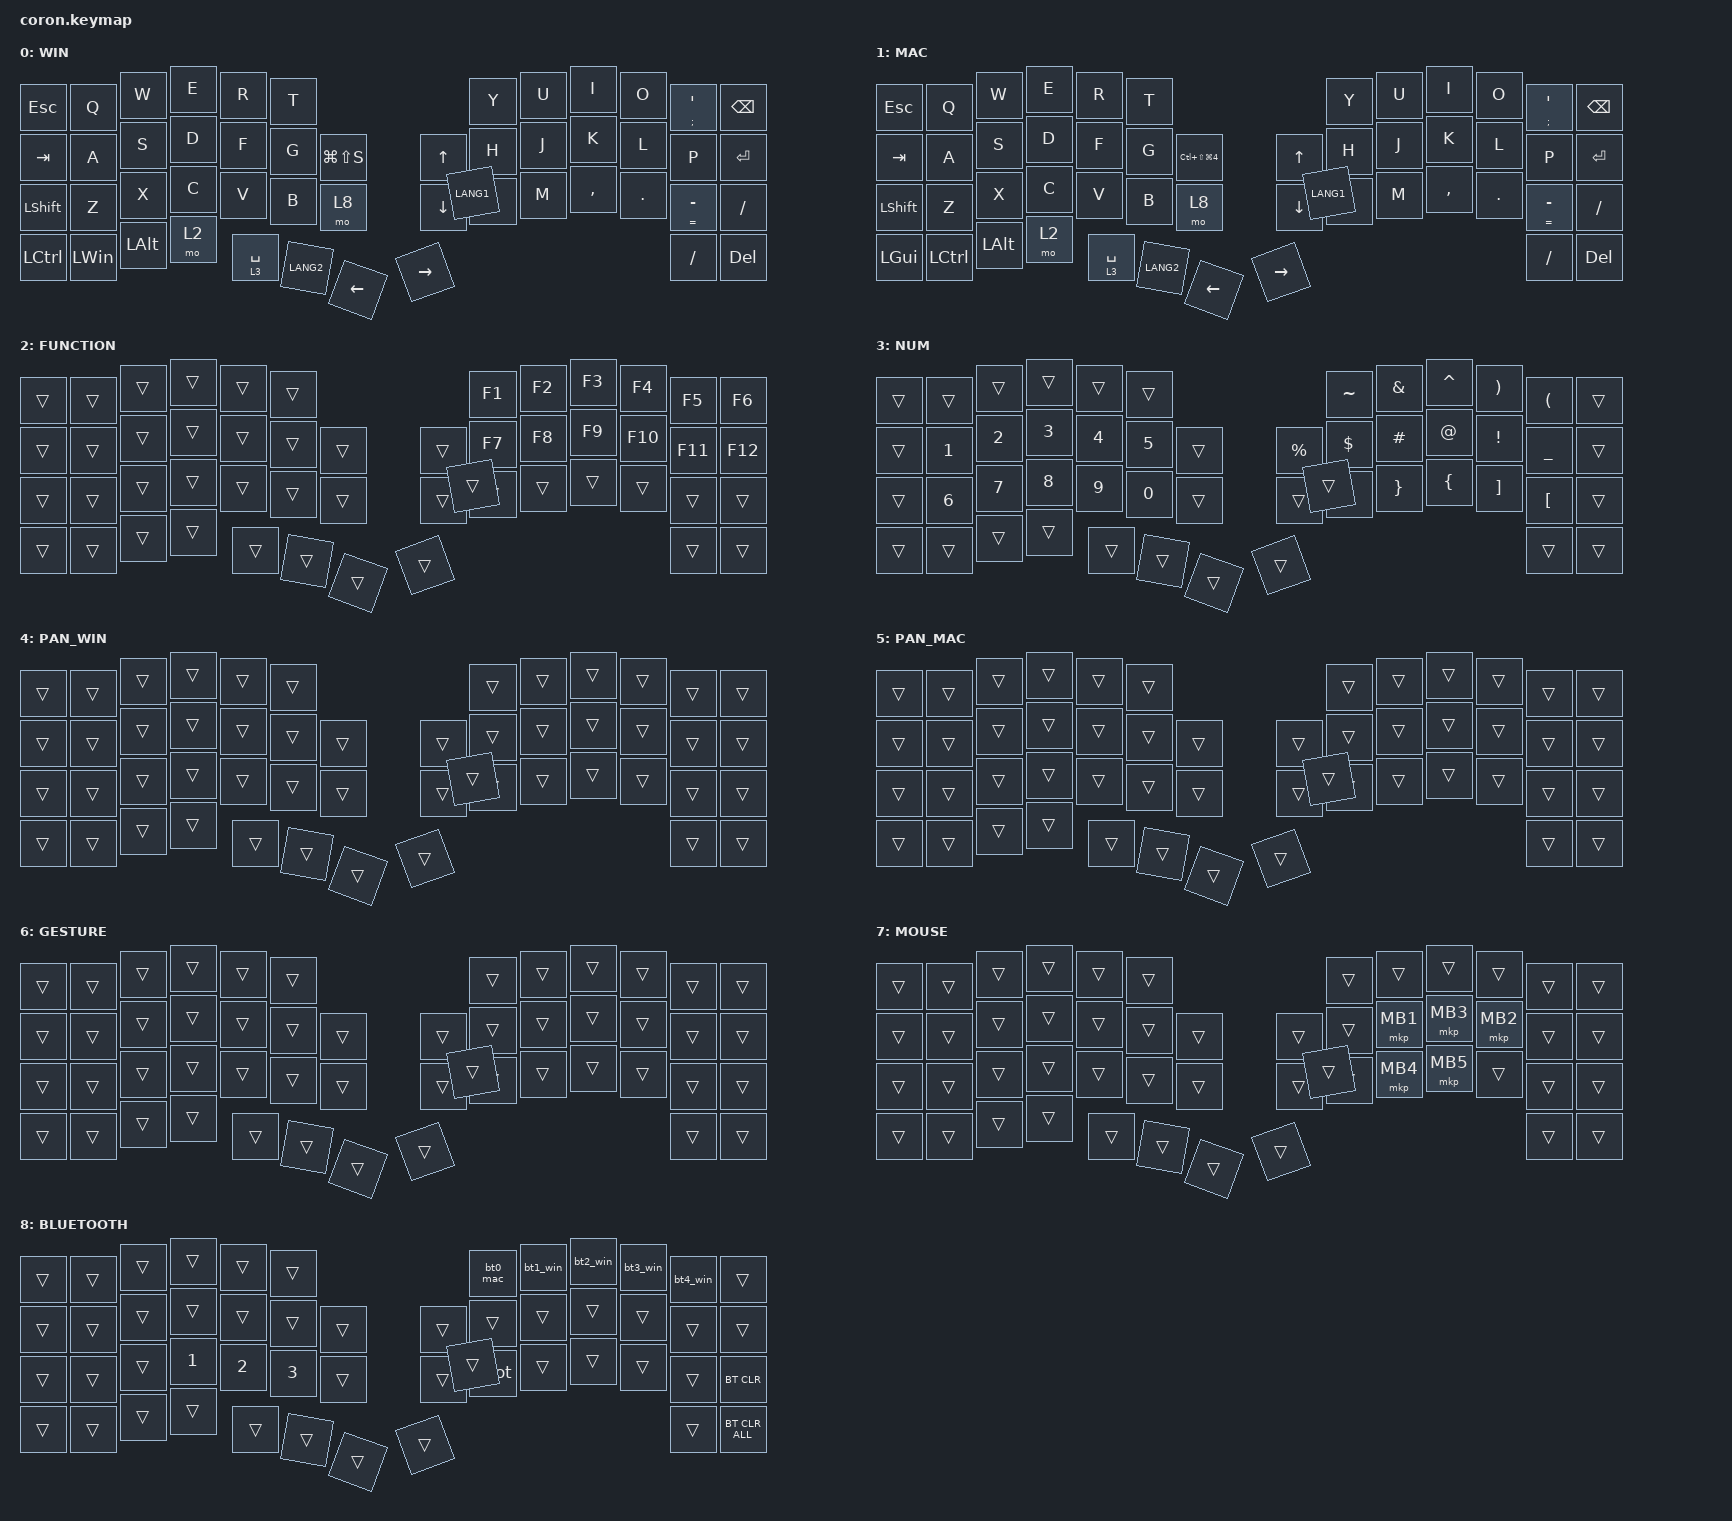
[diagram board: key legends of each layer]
/* coron.keymap */

#include <dt-bindings/zmk/input_transform.h>
#include <input/processors.dtsi>
#include <mouse-gesture.dtsi>
#include <dt-bindings/zmk_behavior_default_layer/default_layer.h>
#include <behaviors.dtsi>
#include <dt-bindings/zmk/bt.h>
#include <dt-bindings/zmk/keys.h>
#include <dt-bindings/zmk/pointing.h>

&mt {
    flavor = "balanced";
    quick-tap-ms = <0>;
};

&zip_mouse_gesture {
    mac-layer = <1>;
    stroke-size = <100>;
    movement-threshold = <6>;
    gesture-cooldown-ms = <250>;
    enable-eager-mode;

    desktop_left {
        pattern = <GESTURE_LEFT>;
        win-bindings = <&kp LC(LG(LEFT_ARROW))>;
        mac-bindings = <&kp LC(LEFT_ARROW)>;
    };

    desktop_right {
        pattern = <GESTURE_RIGHT>;
        win-bindings = <&kp LC(LG(RIGHT_ARROW))>;
        mac-bindings = <&kp LC(RIGHT_ARROW)>;
    };

    desktop_overview_up {
        pattern = <GESTURE_UP>;
        win-bindings = <&kp LG(TAB)>;
        mac-bindings = <&kp LC(UP_ARROW)>;
    };

    desktop_overview_down {
        pattern = <GESTURE_DOWN>;
        win-bindings = <&kp LG(TAB)>;
        mac-bindings = <&kp LC(DOWN_ARROW)>;
    };
};

&trackball_listener {
    status = "okay";
    input-processors = <&zip_temp_layer 7 300>;

    pan_win_scroll {
        layers = <4>;
        input-processors = <
            &zip_xy_transform INPUT_TRANSFORM_Y_INVERT
            &zip_axis_lock
            &zip_xy_to_scroll_mapper
#if defined(CORON_SCROLL_INERTIA)
            &scroll_inertia_win
#endif
            &zip_scroll_scaler 1 12
        >;
    };

    pan_mac_scroll {
        layers = <5>;
        input-processors = <
            &zip_xy_transform INPUT_TRANSFORM_Y_INVERT
            &zip_axis_lock
            &zip_xy_to_scroll_mapper
            &zip_scroll_transform INPUT_TRANSFORM_X_INVERT
#if defined(CORON_SCROLL_INERTIA)
            &scroll_inertia_mac
#endif
            &zip_scroll_scaler 1 12
        >;
    };

    desktop_layer_gesture {
        layers = <6>;
        input-processors = <
            &zip_mouse_gesture
            &zip_xy_scaler 0 1
        >;
    };

};

/ {
#if defined(CORON_SCROLL_INERTIA)
    /* Inertia emits directly to HID: apply direction transforms before it,
     * and keep scale/scale-div equal to the downstream scroll scaler.
     * Only the right (central) half can emit mouse HID reports.
     */
    scroll_inertia_win: scroll_inertia_win {
        compatible = "zmk,input-processor-scroll-inertia";
        #input-processor-cells = <0>;
        axis = <0>;
        layer = <4>;
        scale = <1>;
        scale-div = <12>;
        /* Initial thresholds for the 400 CPI, 125 Hz sensor. */
        start = <16>;
        move = <32>;
        stop = <1>;
        tick = <8>;
        release = <24>;
        span = <2000>;
    };

    scroll_inertia_mac: scroll_inertia_mac {
        compatible = "zmk,input-processor-scroll-inertia";
        #input-processor-cells = <0>;
        axis = <0>;
        layer = <5>;
        scale = <1>;
        scale-div = <12>;
        start = <16>;
        move = <32>;
        stop = <1>;
        tick = <8>;
        release = <24>;
        span = <2000>;
    };
#endif

    layer_listeners {
        compatible = "zmk,layer-listeners";

        desktop_gesture_auto_toggle {
            layers = <6>;
            bindings = <&mouse_gesture_on &mouse_gesture_off>;
        };
    };

    combos {
        compatible = "zmk,combos";

        tab {
            bindings = <&kp TAB>;
            key-positions = <11 12>;
        };

        shift_tab {
            bindings = <&kp LS(TAB)>;
            key-positions = <12 13>;
        };

        muhennkann {
            bindings = <&to_layer_0 INT_MUHENKAN>;
            key-positions = <11 10>;
        };

        double_quotation {
            bindings = <&kp DOUBLE_QUOTES>;
            key-positions = <20 21>;
        };

        eq {
            bindings = <&kp EQUAL>;
            key-positions = <24 25>;
        };

        jk_scroll_win {
            bindings = <&mo 4>;
            key-positions = <21 22>;
            layers = <0>;
            slow-release;
        };

        jk_scroll_mac {
            bindings = <&mo 5>;
            key-positions = <21 22>;
            layers = <1>;
            slow-release;
        };

        kl_mission_control {
            bindings = <&mo 6>;
            key-positions = <22 23>;
            layers = <0 1>;
            slow-release;
        };
    };

    macros {
        to_layer_0: to_layer_0 {
            compatible = "zmk,behavior-macro-one-param";
            #binding-cells = <1>;
            bindings = <&to 0 &macro_param_1to1 &kp MACRO_PLACEHOLDER>;
            label = "TO_LAYER_0";
        };

        bt0_mac: bt0_mac {
            compatible = "zmk,behavior-macro";
            #binding-cells = <0>;
            bindings = <&bt BT_SEL 0 &df DF_BLE_SEL 1>;
            label = "BT0_MAC";
        };

        bt1_win: bt1_win {
            compatible = "zmk,behavior-macro";
            #binding-cells = <0>;
            bindings = <&bt BT_SEL 1 &df DF_BLE_SEL 0>;
            label = "BT1_WIN";
        };

        bt2_win: bt2_win {
            compatible = "zmk,behavior-macro";
            #binding-cells = <0>;
            bindings = <&bt BT_SEL 2 &df DF_BLE_SEL 0>;
            label = "BT2_WIN";
        };

        bt3_win: bt3_win {
            compatible = "zmk,behavior-macro";
            #binding-cells = <0>;
            bindings = <&bt BT_SEL 3 &df DF_BLE_SEL 0>;
            label = "BT3_WIN";
        };

        bt4_win: bt4_win {
            compatible = "zmk,behavior-macro";
            #binding-cells = <0>;
            bindings = <&bt BT_SEL 4 &df DF_BLE_SEL 0>;
            label = "BT4_WIN";
        };
    };

    behaviors {
        lt_to_layer_0: lt_to_layer_0 {
            compatible = "zmk,behavior-hold-tap";
            label = "LAYER_TAP_TO_0";
            bindings = <&mo>, <&to_layer_0>;

            #binding-cells = <2>;
            tapping-term-ms = <200>;
        };
    };

    keymap {
        compatible = "zmk,keymap";

        WIN {
            bindings = <
&kp ESC         &kp Q         &kp W         &kp E  &kp R        &kp T      &kp Y           &kp U            &kp I      &kp O      &mt SEMICOLON SQT  &kp BACKSPACE
&kp TAB         &kp A         &kp S         &kp D  &kp F        &kp G      &kp LG(LS(S))   &kp UP_ARROW     &kp H      &kp J      &kp K              &kp L          &kp P            &kp ENTER
&kp LEFT_SHIFT  &kp Z         &kp X         &kp C  &kp V        &kp B      &mo 8           &kp DOWN_ARROW   &kp N      &kp M      &kp COMMA          &kp DOT        &mt EQUAL MINUS  &kp SLASH
&kp LCTRL       &kp LEFT_WIN  &kp LEFT_ALT  &mo 2  &lt 3 SPACE  &kp LANG2  &kp LEFT_ARROW  &kp RIGHT_ARROW  &kp LANG1  &kp SLASH  &kp DEL
            >;
        };

        MAC {
            bindings = <
&kp ESC         &kp Q      &kp W         &kp E  &kp R        &kp T      &kp Y                     &kp U            &kp I      &kp O      &mt SEMICOLON SQT  &kp BACKSPACE
&kp TAB         &kp A      &kp S         &kp D  &kp F        &kp G      &kp LC(LS(LG(NUMBER_4)))  &kp UP_ARROW     &kp H      &kp J      &kp K              &kp L          &kp P            &kp ENTER
&kp LEFT_SHIFT  &kp Z      &kp X         &kp C  &kp V        &kp B      &mo 8                     &kp DOWN_ARROW   &kp N      &kp M      &kp COMMA          &kp DOT        &mt EQUAL MINUS  &kp SLASH
&kp LEFT_GUI    &kp LCTRL  &kp LEFT_ALT  &mo 2  &lt 3 SPACE  &kp LANG2  &kp LEFT_ARROW            &kp RIGHT_ARROW  &kp LANG1  &kp SLASH  &kp DEL
            >;
        };

        FUNCTION {
            bindings = <
&trans  &trans  &trans  &trans  &trans  &trans  &kp F1  &kp F2  &kp F3  &kp F4  &kp F5  &kp F6
&trans  &trans  &trans  &trans  &trans  &trans  &trans  &trans  &kp F7  &kp F8  &kp F9  &kp F10  &kp F11  &kp F12
&trans  &trans  &trans  &trans  &trans  &trans  &trans  &trans  &trans  &trans  &trans  &trans   &trans   &trans
&trans  &trans  &trans  &trans  &trans  &trans  &trans  &trans  &trans  &trans  &trans
            >;
        };

        NUM {
            bindings = <
&trans  &trans        &trans  &trans  &trans  &trans  &kp TILDE  &kp AMPERSAND  &kp CARET      &kp RIGHT_PARENTHESIS  &kp LEFT_PARENTHESIS  &trans
&trans  &kp N1        &kp N2  &kp N3  &kp N4  &kp N5  &trans     &kp PERCENT    &kp DOLLAR     &kp HASH               &kp AT_SIGN           &kp EXCLAMATION    &kp UNDERSCORE    &trans
&trans  &kp NUMBER_6  &kp N7  &kp N8  &kp N9  &kp N0  &trans     &trans         &kp BACKSLASH  &kp RIGHT_BRACE        &kp LEFT_BRACE        &kp RIGHT_BRACKET  &kp LEFT_BRACKET  &trans
&trans  &trans        &trans  &trans  &trans  &trans  &trans     &trans         &trans         &trans                 &trans
            >;
        };

        PAN_WIN {
            bindings = <
&trans  &trans  &trans  &trans  &trans  &trans  &trans  &trans  &trans  &trans  &trans  &trans
&trans  &trans  &trans  &trans  &trans  &trans  &trans  &trans  &trans  &trans  &trans  &trans  &trans  &trans
&trans  &trans  &trans  &trans  &trans  &trans  &trans  &trans  &trans  &trans  &trans  &trans  &trans  &trans
&trans  &trans  &trans  &trans  &trans  &trans  &trans  &trans  &trans  &trans  &trans
            >;
        };

        PAN_MAC {
            bindings = <
&trans  &trans  &trans  &trans  &trans  &trans  &trans  &trans  &trans  &trans  &trans  &trans
&trans  &trans  &trans  &trans  &trans  &trans  &trans  &trans  &trans  &trans  &trans  &trans  &trans  &trans
&trans  &trans  &trans  &trans  &trans  &trans  &trans  &trans  &trans  &trans  &trans  &trans  &trans  &trans
&trans  &trans  &trans  &trans  &trans  &trans  &trans  &trans  &trans  &trans  &trans
            >;
        };

        GESTURE {
            bindings = <
&trans  &trans  &trans  &trans  &trans  &trans  &trans  &trans  &trans  &trans  &trans  &trans
&trans  &trans  &trans  &trans  &trans  &trans  &trans  &trans  &trans  &trans  &trans  &trans  &trans  &trans
&trans  &trans  &trans  &trans  &trans  &trans  &trans  &trans  &trans  &trans  &trans  &trans  &trans  &trans
&trans  &trans  &trans  &trans  &trans  &trans  &trans  &trans  &trans  &trans  &trans
            >;
        };

        MOUSE {
            bindings = <
&trans  &trans  &trans  &trans  &trans  &trans  &trans  &trans  &trans  &trans    &trans    &trans
&trans  &trans  &trans  &trans  &trans  &trans  &trans  &trans  &trans  &mkp MB1  &mkp MB3  &mkp MB2  &trans  &trans
&trans  &trans  &trans  &trans  &trans  &trans  &trans  &trans  &trans  &mkp MB4  &mkp MB5  &trans    &trans  &trans
&trans  &trans  &trans  &trans  &trans  &trans  &trans  &trans  &trans  &trans    &trans
            >;
        };

        BLUETOOTH {
            bindings = <
&trans  &trans  &trans  &trans        &trans        &trans        &bt0_mac  &bt1_win  &bt2_win     &bt3_win  &bt4_win        &trans
&trans  &trans  &trans  &trans        &trans        &trans        &trans    &trans    &trans       &trans    &trans          &trans  &trans  &trans
&trans  &trans  &trans  &kp NUMBER_1  &kp NUMBER_2  &kp NUMBER_3  &trans    &trans    &bootloader  &trans    &trans          &trans  &trans  &bt BT_CLR
&trans  &trans  &trans  &trans        &trans        &trans        &trans    &trans    &trans       &trans    &bt BT_CLR_ALL
            >;
        };
    };
};
